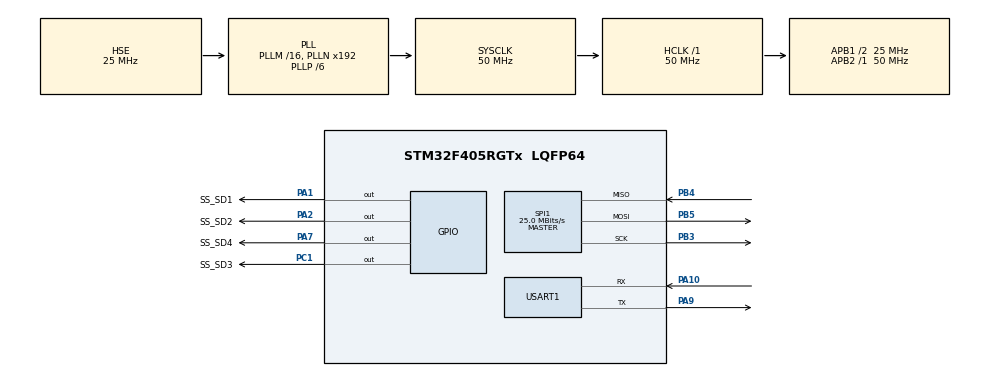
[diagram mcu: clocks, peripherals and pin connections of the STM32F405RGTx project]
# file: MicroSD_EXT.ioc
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FATFS._FS_EXFAT=1
FATFS._FS_TINY=0
FATFS._USE_LFN=1
FATFS._VOLUMES=4
Mcu.Family=STM32F4
Mcu.Name=STM32F405RGTx
Mcu.Package=LQFP64
NVIC.PriorityGroup=NVIC_PRIORITYGROUP_4
NVIC.SPI1_IRQn=true\:0\:0\:false\:false\:true\:true\:true
NVIC.TIM2_IRQn=true\:0\:0\:false\:false\:true\:true\:true
NVIC.USART1_IRQn=true\:0\:0\:false\:false\:true\:true\:true
PA1.GPIO_Label=SS_SD1
PA1.GPIO_PuPd=GPIO_NOPULL
PA1.PinState=GPIO_PIN_SET
PA1.Signal=GPIO_Output
PA10.Mode=Asynchronous
PA10.Signal=USART1_RX
PA13.Mode=Serial_Wire
PA13.Signal=SYS_JTMS-SWDIO
PA14.Mode=Serial_Wire
PA14.Signal=SYS_JTCK-SWCLK
PA2.GPIO_Label=SS_SD2
PA2.GPIO_PuPd=GPIO_NOPULL
PA2.PinState=GPIO_PIN_SET
PA2.Signal=GPIO_Output
PA7.GPIO_Label=SS_SD4
PA7.GPIO_PuPd=GPIO_NOPULL
PA7.PinState=GPIO_PIN_SET
PA7.Signal=GPIO_Output
PA9.Mode=Asynchronous
PA9.Signal=USART1_TX
PB3.Mode=Full_Duplex_Master
PB3.Signal=SPI1_SCK
PB4.Mode=Full_Duplex_Master
PB4.Signal=SPI1_MISO
PB5.Mode=Full_Duplex_Master
PB5.Signal=SPI1_MOSI
PC1.GPIO_Label=SS_SD3
PC1.PinState=GPIO_PIN_SET
PC1.Signal=GPIO_Output
PH0-OSC_IN.Mode=HSE-External-Oscillator
PH0-OSC_IN.Signal=RCC_OSC_IN
PH1-OSC_OUT.Mode=HSE-External-Oscillator
PH1-OSC_OUT.Signal=RCC_OSC_OUT
ProjectManager.HeapSize=0x200
ProjectManager.StackSize=0x400
ProjectManager.TargetToolchain=STM32CubeIDE
RCC.48MHZClocksFreq_Value=75000000
RCC.AHBFreq_Value=50000000
RCC.APB1CLKDivider=RCC_HCLK_DIV2
RCC.APB1Freq_Value=25000000
RCC.APB1TimFreq_Value=50000000
RCC.APB2Freq_Value=50000000
RCC.APB2TimFreq_Value=50000000
RCC.CortexFreq_Value=50000000
RCC.HCLKFreq_Value=50000000
RCC.HSE_VALUE=25000000
RCC.HSI_VALUE=16000000
RCC.LSE_VALUE=32768
RCC.PLLP=RCC_PLLP_DIV6
RCC.PLLSourceVirtual=RCC_PLLSOURCE_HSE
RCC.SYSCLKFreq_VALUE=50000000
RCC.SYSCLKSource=RCC_SYSCLKSOURCE_PLLCLK
RCC.VCOOutputFreq_Value=300000000
SPI1.BaudRatePrescaler=SPI_BAUDRATEPRESCALER_2
SPI1.CalculateBaudRate=25.0 MBits/s
SPI1.Direction=SPI_DIRECTION_2LINES
SPI1.Mode=SPI_MODE_MASTER
SPI1.VirtualType=VM_MASTER
TIM2.Period=60000
TIM2.Prescaler=39999
USART1.VirtualMode=VM_ASYNC
VP_FATFS_VS_Generic.Mode=User_defined
VP_TIM2_VS_ClockSourceINT.Mode=Internal
board=custom

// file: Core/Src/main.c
/* USER CODE BEGIN Header */
/**
  ******************************************************************************
  * @file           : main.c
  * @brief          : Main program body
  ******************************************************************************
  * @attention
  *
  * <h2><center>&copy; Copyright (c) 2022 STMicroelectronics.
  * All rights reserved.</center></h2>
  *
  * This software component is licensed by ST under Ultimate Liberty license
  * SLA0044, the "License"; You may not use this file except in compliance with
  * the License. You may obtain a copy of the License at:
  *                             www.st.com/SLA0044
  *
  ******************************************************************************
  */
/* USER CODE END Header */
#include "main.h"
#include "fatfs.h"

/* USER CODE BEGIN Includes */
#include "string.h"
/* USER CODE END Includes */

/* USER CODE BEGIN PD */
#define DEBUG_SD
/* USER CODE END PD */

SPI_HandleTypeDef hspi1;

TIM_HandleTypeDef htim2;

UART_HandleTypeDef huart1;

/* USER CODE BEGIN PV */

FATFS SDFatFs;
FATFS *fs;
FIL MyFile;
FILINFO fileInfo;
uint32_t byteswritten,bytesread;
FRESULT res;

/* USER CODE END PV */

void SystemClock_Config(void);
static void MX_GPIO_Init(void);
static void MX_SPI1_Init(void);
static void MX_USART1_UART_Init(void);
static void MX_TIM2_Init(void);
/* USER CODE BEGIN PFP */
void readDir();
/* USER CODE END PFP */

int main(void)
{

  /* MCU Configuration--------------------------------------------------------*/

  /* Reset of all peripherals, Initializes the Flash interface and the Systick. */
  HAL_Init();

  /* Configure the system clock */
  SystemClock_Config();

  /* Initialize all configured peripherals */
  MX_GPIO_Init();
  MX_SPI1_Init();
  MX_USART1_UART_Init();
  MX_FATFS_Init();
  MX_TIM2_Init();
  /* USER CODE BEGIN 2 */
   HAL_Delay(2000);
   HAL_UART_Transmit(&huart1,(uint8_t*)"Start\n\r",9,100);

   disk_initialize(SDFatFs.drv);

   HAL_UART_Transmit(&huart1,(uint8_t*)"Mounted\n\r",11,100);

   if(f_mount(&SDFatFs,"",1)!=FR_OK)
   {

 	  HAL_UART_Transmit(&huart1,(uint8_t*)"MNT error\n\r",13,100);
       Error_Handler();
   }

   if(f_open(&MyFile,"lastdata.txt",FA_CREATE_ALWAYS|FA_WRITE)!=FR_OK)
        {

 	      HAL_UART_Transmit(&huart1,(uint8_t*)"SD error\n\r",12,100);
           Error_Handler();
        }
    else
  	  {
  	     HAL_UART_Transmit(&huart1,(uint8_t*)"Created\n\r",11,100);
  	  }
   f_write(&MyFile,(uint8_t*)"HELLO FILE",10,(void*)&byteswritten);
   f_close(&MyFile);

  /* USER CODE END 2 */

  /* Infinite loop */
  /* USER CODE BEGIN WHILE */
  while (1)
  {
	 readDir();
	 HAL_Delay(2000);
    /* USER CODE END WHILE */

  }
}

void SystemClock_Config(void)
{
  RCC_OscInitTypeDef RCC_OscInitStruct = {0};
  RCC_ClkInitTypeDef RCC_ClkInitStruct = {0};

  /** Configure the main internal regulator output voltage
  */
  __HAL_RCC_PWR_CLK_ENABLE();
  __HAL_PWR_VOLTAGESCALING_CONFIG(PWR_REGULATOR_VOLTAGE_SCALE1);
  /** Initializes the RCC Oscillators according to the specified parameters
  * in the RCC_OscInitTypeDef structure.
  */
  RCC_OscInitStruct.OscillatorType = RCC_OSCILLATORTYPE_HSE;
  RCC_OscInitStruct.HSEState = RCC_HSE_ON;
  RCC_OscInitStruct.PLL.PLLState = RCC_PLL_ON;
  RCC_OscInitStruct.PLL.PLLSource = RCC_PLLSOURCE_HSE;
  RCC_OscInitStruct.PLL.PLLM = 16;
  RCC_OscInitStruct.PLL.PLLN = 192;
  RCC_OscInitStruct.PLL.PLLP = RCC_PLLP_DIV6;
  RCC_OscInitStruct.PLL.PLLQ = 4;
  if (HAL_RCC_OscConfig(&RCC_OscInitStruct) != HAL_OK)
  {
    Error_Handler();
  }
  /** Initializes the CPU, AHB and APB buses clocks
  */
  RCC_ClkInitStruct.ClockType = RCC_CLOCKTYPE_HCLK|RCC_CLOCKTYPE_SYSCLK
                              |RCC_CLOCKTYPE_PCLK1|RCC_CLOCKTYPE_PCLK2;
  RCC_ClkInitStruct.SYSCLKSource = RCC_SYSCLKSOURCE_PLLCLK;
  RCC_ClkInitStruct.AHBCLKDivider = RCC_SYSCLK_DIV1;
  RCC_ClkInitStruct.APB1CLKDivider = RCC_HCLK_DIV2;
  RCC_ClkInitStruct.APB2CLKDivider = RCC_HCLK_DIV1;

  if (HAL_RCC_ClockConfig(&RCC_ClkInitStruct, FLASH_LATENCY_1) != HAL_OK)
  {
    Error_Handler();
  }
}

static void MX_SPI1_Init(void)
{

  /* SPI1 parameter configuration*/
  hspi1.Instance = SPI1;
  hspi1.Init.Mode = SPI_MODE_MASTER;
  hspi1.Init.Direction = SPI_DIRECTION_2LINES;
  hspi1.Init.DataSize = SPI_DATASIZE_8BIT;
  hspi1.Init.CLKPolarity = SPI_POLARITY_LOW;
  hspi1.Init.CLKPhase = SPI_PHASE_1EDGE;
  hspi1.Init.NSS = SPI_NSS_SOFT;
  hspi1.Init.BaudRatePrescaler = SPI_BAUDRATEPRESCALER_2;
  hspi1.Init.FirstBit = SPI_FIRSTBIT_MSB;
  hspi1.Init.TIMode = SPI_TIMODE_DISABLE;
  hspi1.Init.CRCCalculation = SPI_CRCCALCULATION_DISABLE;
  hspi1.Init.CRCPolynomial = 10;
  if (HAL_SPI_Init(&hspi1) != HAL_OK)
  {
    Error_Handler();
  }

}

static void MX_TIM2_Init(void)
{

  TIM_ClockConfigTypeDef sClockSourceConfig = {0};
  TIM_MasterConfigTypeDef sMasterConfig = {0};

  htim2.Instance = TIM2;
  htim2.Init.Prescaler = 39999;
  htim2.Init.CounterMode = TIM_COUNTERMODE_UP;
  htim2.Init.Period = 60000;
  htim2.Init.ClockDivision = TIM_CLOCKDIVISION_DIV1;
  htim2.Init.AutoReloadPreload = TIM_AUTORELOAD_PRELOAD_DISABLE;
  if (HAL_TIM_Base_Init(&htim2) != HAL_OK)
  {
    Error_Handler();
  }
  sClockSourceConfig.ClockSource = TIM_CLOCKSOURCE_INTERNAL;
  if (HAL_TIM_ConfigClockSource(&htim2, &sClockSourceConfig) != HAL_OK)
  {
    Error_Handler();
  }
  sMasterConfig.MasterOutputTrigger = TIM_TRGO_RESET;
  sMasterConfig.MasterSlaveMode = TIM_MASTERSLAVEMODE_DISABLE;
  if (HAL_TIMEx_MasterConfigSynchronization(&htim2, &sMasterConfig) != HAL_OK)
  {
    Error_Handler();
  }

}

static void MX_USART1_UART_Init(void)
{

  huart1.Instance = USART1;
  huart1.Init.BaudRate = 115200;
  huart1.Init.WordLength = UART_WORDLENGTH_8B;
  huart1.Init.StopBits = UART_STOPBITS_1;
  huart1.Init.Parity = UART_PARITY_NONE;
  huart1.Init.Mode = UART_MODE_TX_RX;
  huart1.Init.HwFlowCtl = UART_HWCONTROL_NONE;
  huart1.Init.OverSampling = UART_OVERSAMPLING_16;
  if (HAL_UART_Init(&huart1) != HAL_OK)
  {
    Error_Handler();
  }

}

static void MX_GPIO_Init(void)
{
  GPIO_InitTypeDef GPIO_InitStruct = {0};

  /* GPIO Ports Clock Enable */
  __HAL_RCC_GPIOH_CLK_ENABLE();
  __HAL_RCC_GPIOC_CLK_ENABLE();
  __HAL_RCC_GPIOA_CLK_ENABLE();
  __HAL_RCC_GPIOB_CLK_ENABLE();

  /*Configure GPIO pin Output Level */
  HAL_GPIO_WritePin(SS_SD3_GPIO_Port, SS_SD3_Pin, GPIO_PIN_SET);

  /*Configure GPIO pin Output Level */
  HAL_GPIO_WritePin(GPIOA, SS_SD1_Pin|SS_SD2_Pin|SS_SD4_Pin, GPIO_PIN_SET);

  /*Configure GPIO pin : SS_SD3_Pin */
  GPIO_InitStruct.Pin = SS_SD3_Pin;
  GPIO_InitStruct.Mode = GPIO_MODE_OUTPUT_PP;
  GPIO_InitStruct.Pull = GPIO_NOPULL;
  GPIO_InitStruct.Speed = GPIO_SPEED_FREQ_LOW;
  HAL_GPIO_Init(SS_SD3_GPIO_Port, &GPIO_InitStruct);

  /*Configure GPIO pins : SS_SD1_Pin SS_SD2_Pin SS_SD4_Pin */
  GPIO_InitStruct.Pin = SS_SD1_Pin|SS_SD2_Pin|SS_SD4_Pin;
  GPIO_InitStruct.Mode = GPIO_MODE_OUTPUT_PP;
  GPIO_InitStruct.Pull = GPIO_NOPULL;
  GPIO_InitStruct.Speed = GPIO_SPEED_FREQ_LOW;
  HAL_GPIO_Init(GPIOA, &GPIO_InitStruct);

}

/* USER CODE BEGIN 4 */
void readDir()
{
	//DWORD fre_clust, fre_sect, tot_sect;
	//uint32_t byteswritten,bytesread;
	//FRESULT res;
	char *fn;
	DIR dir;
	FILINFO fileInfo;
	uint8_t sect[512];
	uint8_t result;

	 if(f_mount(&SDFatFs,"0",0)!=FR_OK)
	  {
	    Error_Handler();
	  }
	  else
	  {
	    //fileInfo.fname = (char*)sect;
	    fileInfo.fsize = sizeof(sect);
	    result = f_opendir(&dir, "/");
	    if (result == FR_OK)
	    {
	    	while(1)
	    	  {
	    	    result = f_readdir(&dir, &fileInfo);
	    	    if (result==FR_OK && fileInfo.fname[0])
	    	    {
	    	    	  fn = fileInfo.fname;
	    	    	  if(strlen(fn))
	    	    		  {
							#ifdef DEBUG_SD
	    	    		  	HAL_UART_Transmit(&huart1,(uint8_t*)fn,strlen(fn),0x1000);
							#endif
	    	    		  }
	    	    	  else
	    	    	  {
						#ifdef DEBUG_SD
	    	    		HAL_UART_Transmit(&huart1,(uint8_t*)fileInfo.fname,strlen((char*)fileInfo.fname),0x1000);
						#endif
	    	    	  }
	    	    	  if(fileInfo.fattrib&AM_DIR)
	    	    	  {
						#ifdef DEBUG_SD
	    	    		HAL_UART_Transmit(&huart1,(uint8_t*)" [DIR]",7,0x1000);
					    #endif
	    	    	  }
					  #ifdef DEBUG_SD
	    	    	  HAL_UART_Transmit(&huart1,(uint8_t*)"\n\r",4,0x1000);
					  #endif
	    	    }

	    	    else break;
	    	  }
	   	    f_closedir(&dir);
	    }
	  }
}

/* USER CODE END 4 */

void Error_Handler(void)
{
  __disable_irq();
  while (1)
  {
  }
}

/************************ (C) COPYRIGHT STMicroelectronics *****END OF FILE****/
